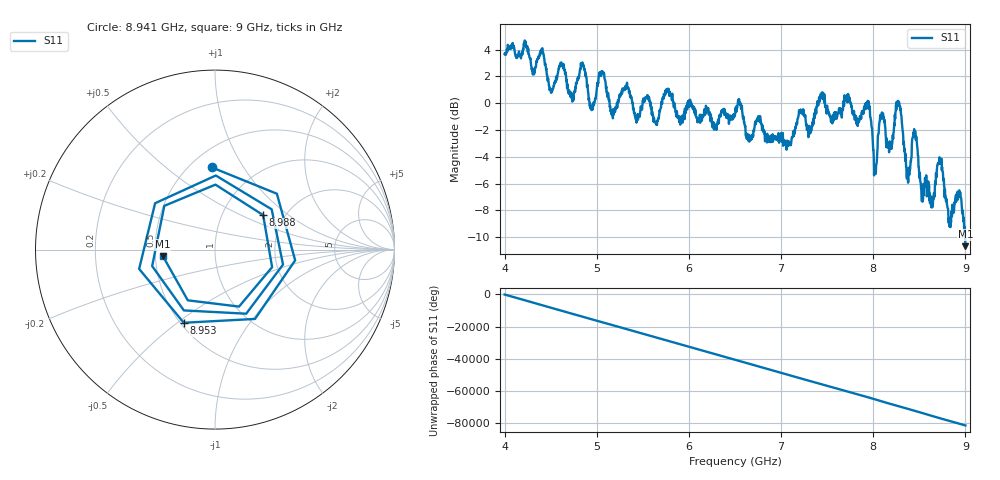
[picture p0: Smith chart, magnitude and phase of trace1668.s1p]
! Created with skrf 1.8.0 (http://scikit-rf.org).
# Hz S RI R 50.0
!freq ReS11 ImS11
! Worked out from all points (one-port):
!   1601 points, 4 GHz to 9 GHz, reference 50 ohm
!   lowest |S11| = -10.7 dB at 9 GHz (marker M1), VSWR 1.83, Z = 27.5 - j2.22 ohm
!   |S11| at or under -10 dB: 8.997455 GHz to end of sweep
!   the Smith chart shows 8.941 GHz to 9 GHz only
!   S11 on the Smith chart (normalised r, x): 8.941 GHz: 0.64, +0.74; 8.953 GHz: 0.52, -0.53; 8.988 GHz: 1.56, +0.67; 9 GHz: 0.55, -0.04
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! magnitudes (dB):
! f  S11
! 4 GHz  3.7
! 4.406 GHz  4.0
! 4.506 GHz  0.8
! 4.625 GHz  2.8
! 4.728 GHz  0.4
! 4.85 GHz  2.9
! 4.947 GHz  -0.5
! 5.053 GHz  2.4
! 5.25 GHz  0.7
! 5.875 GHz  -0.9
! 6.5 GHz  -0.9
! 7.125 GHz  -2.5
! 7.75 GHz  0.1
! 7.938 GHz  -0.1
! 8.022 GHz  -5.2
! 8.088 GHz  -1.1
! 8.181 GHz  -3.3
! 8.272 GHz  0.1
! 8.375 GHz  -5.4
! 8.447 GHz  -2.5
! 8.534 GHz  -6.8
! 8.641 GHz  -7.5
! 8.719 GHz  -4.0
! 8.831 GHz  -8.6
! 8.941 GHz  -6.8
! 8.953 GHz  -7.1
! 8.988 GHz  -9.6
! 9 GHz  -10.7
